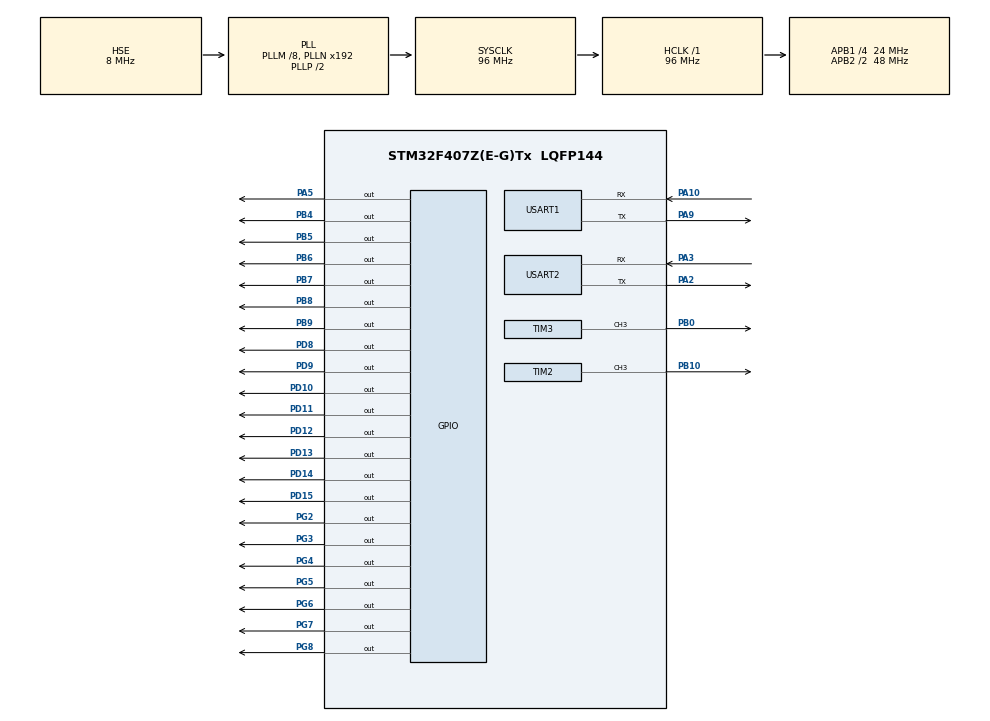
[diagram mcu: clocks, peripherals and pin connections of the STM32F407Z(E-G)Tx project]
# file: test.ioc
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Mcu.Family=STM32F4
Mcu.Name=STM32F407Z(E-G)Tx
Mcu.Package=LQFP144
NVIC.PriorityGroup=NVIC_PRIORITYGROUP_4
NVIC.USART1_IRQn=true\:0\:0\:false\:false\:true\:true\:true
NVIC.USART2_IRQn=true\:1\:0\:true\:false\:true\:true\:true
PA10.Mode=Asynchronous
PA10.Signal=USART1_RX
PA13.Mode=Serial_Wire
PA13.Signal=SYS_JTMS-SWDIO
PA14.Mode=Serial_Wire
PA14.Signal=SYS_JTCK-SWCLK
PA2.Mode=Asynchronous
PA2.Signal=USART2_TX
PA3.Mode=Asynchronous
PA3.Signal=USART2_RX
PA5.PinState=GPIO_PIN_SET
PA5.Signal=GPIO_Output
PA9.Mode=Asynchronous
PA9.Signal=USART1_TX
PB0.Signal=S_TIM3_CH3
PB10.Signal=S_TIM2_CH3
PB4.GPIO_PuPd=GPIO_PULLDOWN
PB4.GPIO_Speed=GPIO_SPEED_FREQ_HIGH
PB4.PinState=GPIO_PIN_SET
PB4.Signal=GPIO_Output
PB5.GPIO_PuPd=GPIO_PULLDOWN
PB5.GPIO_Speed=GPIO_SPEED_FREQ_HIGH
PB5.PinState=GPIO_PIN_SET
PB5.Signal=GPIO_Output
PB6.GPIO_PuPd=GPIO_PULLDOWN
PB6.GPIO_Speed=GPIO_SPEED_FREQ_HIGH
PB6.PinState=GPIO_PIN_SET
PB6.Signal=GPIO_Output
PB7.GPIO_PuPd=GPIO_PULLDOWN
PB7.GPIO_Speed=GPIO_SPEED_FREQ_HIGH
PB7.PinState=GPIO_PIN_SET
PB7.Signal=GPIO_Output
PB8.GPIO_PuPd=GPIO_PULLDOWN
PB8.GPIO_Speed=GPIO_SPEED_FREQ_HIGH
PB8.PinState=GPIO_PIN_SET
PB8.Signal=GPIO_Output
PB9.GPIO_PuPd=GPIO_PULLDOWN
PB9.GPIO_Speed=GPIO_SPEED_FREQ_HIGH
PB9.PinState=GPIO_PIN_SET
PB9.Signal=GPIO_Output
PC14-OSC32_IN.Mode=LSE-External-Oscillator
PC14-OSC32_IN.Signal=RCC_OSC32_IN
PC15-OSC32_OUT.Mode=LSE-External-Oscillator
PC15-OSC32_OUT.Signal=RCC_OSC32_OUT
PD10.GPIO_ModeDefaultOutputPP=GPIO_MODE_OUTPUT_PP
PD10.GPIO_PuPd=GPIO_PULLDOWN
PD10.GPIO_Speed=GPIO_SPEED_FREQ_HIGH
PD10.PinState=GPIO_PIN_SET
PD10.Signal=GPIO_Output
PD11.GPIO_ModeDefaultOutputPP=GPIO_MODE_OUTPUT_PP
PD11.GPIO_PuPd=GPIO_PULLUP
PD11.GPIO_Speed=GPIO_SPEED_FREQ_HIGH
PD11.PinState=GPIO_PIN_SET
PD11.Signal=GPIO_Output
PD12.GPIO_ModeDefaultOutputPP=GPIO_MODE_OUTPUT_PP
PD12.GPIO_PuPd=GPIO_PULLDOWN
PD12.GPIO_Speed=GPIO_SPEED_FREQ_HIGH
PD12.PinState=GPIO_PIN_SET
PD12.Signal=GPIO_Output
PD13.GPIO_ModeDefaultOutputPP=GPIO_MODE_OUTPUT_PP
PD13.GPIO_PuPd=GPIO_PULLDOWN
PD13.GPIO_Speed=GPIO_SPEED_FREQ_HIGH
PD13.PinState=GPIO_PIN_SET
PD13.Signal=GPIO_Output
PD14.GPIO_PuPd=GPIO_PULLDOWN
PD14.GPIO_Speed=GPIO_SPEED_FREQ_HIGH
PD14.PinState=GPIO_PIN_SET
PD14.Signal=GPIO_Output
PD15.GPIO_PuPd=GPIO_PULLDOWN
PD15.GPIO_Speed=GPIO_SPEED_FREQ_HIGH
PD15.PinState=GPIO_PIN_SET
PD15.Signal=GPIO_Output
PD8.GPIO_ModeDefaultOutputPP=GPIO_MODE_OUTPUT_PP
PD8.GPIO_PuPd=GPIO_PULLDOWN
PD8.GPIO_Speed=GPIO_SPEED_FREQ_HIGH
PD8.PinState=GPIO_PIN_SET
PD8.Signal=GPIO_Output
PD9.GPIO_ModeDefaultOutputPP=GPIO_MODE_OUTPUT_PP
PD9.GPIO_PuPd=GPIO_PULLDOWN
PD9.GPIO_Speed=GPIO_SPEED_FREQ_HIGH
PD9.PinState=GPIO_PIN_SET
PD9.Signal=GPIO_Output
PG2.GPIO_PuPd=GPIO_PULLDOWN
PG2.GPIO_Speed=GPIO_SPEED_FREQ_HIGH
PG2.PinState=GPIO_PIN_SET
PG2.Signal=GPIO_Output
PG3.GPIO_ModeDefaultOutputPP=GPIO_MODE_OUTPUT_PP
PG3.GPIO_PuPd=GPIO_PULLDOWN
PG3.GPIO_Speed=GPIO_SPEED_FREQ_HIGH
PG3.PinState=GPIO_PIN_SET
PG3.Signal=GPIO_Output
PG4.GPIO_ModeDefaultOutputPP=GPIO_MODE_OUTPUT_PP
PG4.GPIO_PuPd=GPIO_PULLDOWN
PG4.GPIO_Speed=GPIO_SPEED_FREQ_HIGH
PG4.PinState=GPIO_PIN_SET
PG4.Signal=GPIO_Output
PG5.GPIO_ModeDefaultOutputPP=GPIO_MODE_OUTPUT_PP
PG5.GPIO_PuPd=GPIO_PULLDOWN
PG5.GPIO_Speed=GPIO_SPEED_FREQ_HIGH
PG5.PinState=GPIO_PIN_SET
PG5.Signal=GPIO_Output
PG6.GPIO_PuPd=GPIO_PULLDOWN
PG6.GPIO_Speed=GPIO_SPEED_FREQ_HIGH
PG6.PinState=GPIO_PIN_SET
PG6.Signal=GPIO_Output
PG7.GPIO_PuPd=GPIO_PULLUP
PG7.GPIO_Speed=GPIO_SPEED_FREQ_HIGH
PG7.PinState=GPIO_PIN_SET
PG7.Signal=GPIO_Output
PG8.GPIO_ModeDefaultOutputPP=GPIO_MODE_OUTPUT_PP
PG8.GPIO_PuPd=GPIO_PULLUP
PG8.GPIO_Speed=GPIO_SPEED_FREQ_HIGH
PG8.PinState=GPIO_PIN_SET
PG8.Signal=GPIO_Output
PH0-OSC_IN.Mode=HSE-External-Oscillator
PH0-OSC_IN.Signal=RCC_OSC_IN
PH1-OSC_OUT.Mode=HSE-External-Oscillator
PH1-OSC_OUT.Signal=RCC_OSC_OUT
ProjectManager.HeapSize=0x200
ProjectManager.StackSize=0x400
ProjectManager.TargetToolchain=MDK-ARM V5
RCC.48MHZClocksFreq_Value=48000000
RCC.AHBFreq_Value=96000000
RCC.APB1CLKDivider=RCC_HCLK_DIV4
RCC.APB1Freq_Value=24000000
RCC.APB1TimFreq_Value=48000000
RCC.APB2CLKDivider=RCC_HCLK_DIV2
RCC.APB2Freq_Value=48000000
RCC.APB2TimFreq_Value=96000000
RCC.CortexFreq_Value=96000000
RCC.HCLKFreq_Value=96000000
RCC.HSE_VALUE=8000000
RCC.HSI_VALUE=16000000
RCC.PLLM=8
RCC.PLLSourceVirtual=RCC_PLLSOURCE_HSE
RCC.SYSCLKFreq_VALUE=96000000
RCC.SYSCLKSource=RCC_SYSCLKSOURCE_PLLCLK
RCC.VCOOutputFreq_Value=192000000
SH.S_TIM2_CH3.0=TIM2_CH3,PWM Generation3 CH3
SH.S_TIM3_CH3.0=TIM3_CH3,PWM Generation3 CH3
TIM2.Channel-PWM\ Generation3\ CH3=TIM_CHANNEL_3
TIM2.Period=999
TIM2.Prescaler=83
TIM3.Channel-PWM\ Generation3\ CH3=TIM_CHANNEL_3
TIM3.Period=89
TIM3.Prescaler=59
USART1.VirtualMode=VM_ASYNC
USART2.VirtualMode=VM_ASYNC
board=custom

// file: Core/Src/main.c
/* USER CODE BEGIN Header */
/**
  ******************************************************************************
  * @file           : main.c
  * @brief          : Main program body
  ******************************************************************************
  * @attention
  *
  * <h2><center>&copy; Copyright (c) 2021 STMicroelectronics.
  * All rights reserved.</center></h2>
  *
  * This software component is licensed by ST under BSD 3-Clause license,
  * the "License"; You may not use this file except in compliance with the
  * License. You may obtain a copy of the License at:
  *                        opensource.org/licenses/BSD-3-Clause
  *
  ******************************************************************************
  */
/* USER CODE END Header */
#include "main.h"
#include "tim.h"
#include "usart.h"
#include "gpio.h"

void SystemClock_Config(void);

/* USER CODE BEGIN 0 */
uint8_t Rxbuffer[35];
uint8_t jiexi[35];
uint8_t  c1,c2,c3,c4,c5,c6,c7,c8,c9,c10;

/* USER CODE END 0 */

int main(void)
{

  /* MCU Configuration--------------------------------------------------------*/

  /* Reset of all peripherals, Initializes the Flash interface and the Systick. */
  HAL_Init();

  /* USER CODE BEGIN Init */
uint16_t ledrpwmval = 0;
  /* USER CODE END Init */

  /* Configure the system clock */
  SystemClock_Config();

  /* Initialize all configured peripherals */
  MX_GPIO_Init();
  MX_USART1_UART_Init();
  MX_USART2_UART_Init();
  MX_TIM3_Init();
  MX_TIM2_Init();
  /* USER CODE BEGIN 2 */
	HAL_TIM_PWM_Start(&htim2, TIM_CHANNEL_3);
HAL_TIM_PWM_Start(&htim3,TIM_CHANNEL_3);//PB0     ------> TIM3_CH3
  /* USER CODE END 2 */

  /* Infinite loop */
  /* USER CODE BEGIN WHILE */
  while (1)
  {
		HAL_UART_Receive_IT(&huart2,(uint8_t*)Rxbuffer,35);
		jiexi[0]=Rxbuffer[1];   //对应右手横向摇杆0-3，4，5-7
    jiexi[1]=Rxbuffer[3];   //对应右手纵向摇杆0-3，4，5-7
		jiexi[2]=Rxbuffer[5];   //对应左手油门 0-3，4，5-7
		jiexi[3]=Rxbuffer[7];   //对应左手横向摇杆0-3，4，5-7
		jiexi[4]=Rxbuffer[9];   //对应左手旋钮0-7
		jiexi[5]=Rxbuffer[11];  //对应右手旋钮0-7
		jiexi[6]=Rxbuffer[13];  //左一两段开关0，7
		jiexi[7]=Rxbuffer[15];  //左二两段开关0，7
		jiexi[8]=Rxbuffer[17];  //右二三段开关0，4，7
		jiexi[9]=Rxbuffer[19];  //右一两段开关0，7
		HAL_UART_Transmit(&huart1,&jiexi[0],2,0xFFFF);
		if(jiexi[0] == 0 | jiexi[0]==7 | jiexi[1]==0| jiexi[1] ==7 |jiexi[3]==0| jiexi[3]==7){
			HAL_GPIO_WritePin(GPIOD,GPIO_PIN_2,GPIO_PIN_SET);
		}
		else{
		HAL_GPIO_WritePin(GPIOD,GPIO_PIN_2,GPIO_PIN_RESET);
		}
    if(jiexi[0]>5){
			//HAL_UART_Transmit(&huart1,"11",2,0xFFFF);
		HAL_GPIO_WritePin(GPIOD,GPIO_PIN_12,GPIO_PIN_RESET);
		}
		if(jiexi[0]<6&&jiexi[0]>2){
			//HAL_UART_Transmit(&huart1,"22",2,0xFFFF);
			HAL_GPIO_WritePin(GPIOD,GPIO_PIN_12,GPIO_PIN_SET);
			HAL_GPIO_WritePin(GPIOD,GPIO_PIN_13,GPIO_PIN_SET);
		}
		if(jiexi[0]<3){
			//HAL_UART_Transmit(&huart1,"33",2,0xFFFF);
			HAL_GPIO_WritePin(GPIOD,GPIO_PIN_13,GPIO_PIN_RESET);
		}
		//left and right

		if(jiexi[1]>5){
			HAL_GPIO_WritePin(GPIOD,GPIO_PIN_14,GPIO_PIN_RESET);
		}
		if(jiexi[1]<6&&jiexi[1]>2){
			HAL_GPIO_WritePin(GPIOD,GPIO_PIN_14,GPIO_PIN_SET);
	  	HAL_GPIO_WritePin(GPIOD,GPIO_PIN_15,GPIO_PIN_RESET);
		}
		if(jiexi[1]<3){
			HAL_GPIO_WritePin(GPIOD,GPIO_PIN_15,GPIO_PIN_SET);
		}//down or up

	if(jiexi[3]>5){
			HAL_GPIO_WritePin(GPIOG,GPIO_PIN_7,GPIO_PIN_RESET);//这里初始状态时拉高，所以我设置了拉低为启动

		}
		if(jiexi[3]<6&&jiexi[3]>2){
						HAL_GPIO_WritePin(GPIOG,GPIO_PIN_7,GPIO_PIN_SET);
            HAL_GPIO_WritePin(GPIOG,GPIO_PIN_8,GPIO_PIN_SET);
		}
		if(jiexi[3]<3){
						HAL_GPIO_WritePin(GPIOG,GPIO_PIN_8,GPIO_PIN_RESET);

		}  //left translation or right translation

		//摩擦轮
		if(jiexi[4]>5&&jiexi[4]<7){ ledrpwmval=90;
			  HAL_TIM_PWM_Start(&htim3,TIM_CHANNEL_3);//PB0     ------> TIM3_CH3
			__HAL_TIM_SetCompare(&htim3, TIM_CHANNEL_3, ledrpwmval);
}
   if(jiexi[4]>3&&jiexi[4]<=5){ ledrpwmval=68;
HAL_TIM_PWM_Start(&htim3,TIM_CHANNEL_3);//PB0     ------> TIM3_CH3
	__HAL_TIM_SetCompare(&htim3, TIM_CHANNEL_3, ledrpwmval);
}
    if(jiexi[4]>2&&jiexi[4]<=3){ ledrpwmval=50;
HAL_TIM_PWM_Start(&htim3,TIM_CHANNEL_3);//PB0     ------> TIM3_CH3

	__HAL_TIM_SetCompare(&htim3, TIM_CHANNEL_3, ledrpwmval);
}
if(jiexi[2]<1){
	HAL_GPIO_WritePin(GPIOG,GPIO_PIN_4,GPIO_PIN_RESET);
	HAL_GPIO_WritePin(GPIOG,GPIO_PIN_5,GPIO_PIN_SET);
}
if(jiexi[2]>0 && jiexi[2]<7){
	HAL_GPIO_WritePin(GPIOG,GPIO_PIN_4,GPIO_PIN_RESET);
	HAL_GPIO_WritePin(GPIOG,GPIO_PIN_5,GPIO_PIN_RESET);
}
if(jiexi[2]>6){
HAL_GPIO_WritePin(GPIOG,GPIO_PIN_4,GPIO_PIN_SET);
	HAL_GPIO_WritePin(GPIOG,GPIO_PIN_5,GPIO_PIN_RESET);
}

if(jiexi[5]<2){
HAL_GPIO_WritePin(GPIOD, GPIO_PIN_10,GPIO_PIN_SET);
HAL_TIM_PWM_Start(&htim2, TIM_CHANNEL_3);

}
if(jiexi[5]>1 && jiexi[5]<6){
HAL_TIM_PWM_Stop(&htim2, TIM_CHANNEL_3);
}
if(jiexi[5]>5){
HAL_TIM_PWM_Start(&htim2, TIM_CHANNEL_3);
	HAL_GPIO_WritePin(GPIOD, GPIO_PIN_10,GPIO_PIN_RESET);
}

if(jiexi[4]==7)
{ HAL_TIM_PWM_Stop(&htim3,TIM_CHANNEL_3);
}
if(jiexi[6]==0)
{
	HAL_GPIO_WritePin(GPIOB,GPIO_PIN_4,GPIO_PIN_RESET);//PB4
}
if(jiexi[6]==7)
{
	HAL_GPIO_WritePin(GPIOB,GPIO_PIN_4,GPIO_PIN_SET);
}
if(jiexi[7]==0)
{
	HAL_GPIO_WritePin(GPIOB,GPIO_PIN_5,GPIO_PIN_RESET);//PB5
}
if(jiexi[7]==7)
{
	HAL_GPIO_WritePin(GPIOB,GPIO_PIN_5,GPIO_PIN_SET);
}
if(jiexi[8]==4)//tuigan
{
	HAL_GPIO_WritePin(GPIOB,GPIO_PIN_7,GPIO_PIN_RESET);
	HAL_GPIO_WritePin(GPIOB,GPIO_PIN_8,GPIO_PIN_RESET);//PB6
}
if(jiexi[8]==7)
{
	HAL_GPIO_WritePin(GPIOB,GPIO_PIN_7,GPIO_PIN_RESET);
	HAL_GPIO_WritePin(GPIOB,GPIO_PIN_8,GPIO_PIN_SET);
}
if(jiexi[8]==0)
{
	HAL_GPIO_WritePin(GPIOB,GPIO_PIN_7,GPIO_PIN_SET);
	HAL_GPIO_WritePin(GPIOB,GPIO_PIN_8,GPIO_PIN_RESET);
}
if(jiexi[9]==0)
{
	HAL_GPIO_WritePin(GPIOB,GPIO_PIN_9,GPIO_PIN_RESET);//PB9
}
if(jiexi[9]==7)
{
	HAL_GPIO_WritePin(GPIOB,GPIO_PIN_9,GPIO_PIN_SET);
}

    /* USER CODE END WHILE */

  }
}

void SystemClock_Config(void)
{
  RCC_OscInitTypeDef RCC_OscInitStruct = {0};
  RCC_ClkInitTypeDef RCC_ClkInitStruct = {0};

  /** Configure the main internal regulator output voltage
  */
  __HAL_RCC_PWR_CLK_ENABLE();
  __HAL_PWR_VOLTAGESCALING_CONFIG(PWR_REGULATOR_VOLTAGE_SCALE1);
  /** Initializes the RCC Oscillators according to the specified parameters
  * in the RCC_OscInitTypeDef structure.
  */
  RCC_OscInitStruct.OscillatorType = RCC_OSCILLATORTYPE_HSE;
  RCC_OscInitStruct.HSEState = RCC_HSE_ON;
  RCC_OscInitStruct.PLL.PLLState = RCC_PLL_ON;
  RCC_OscInitStruct.PLL.PLLSource = RCC_PLLSOURCE_HSE;
  RCC_OscInitStruct.PLL.PLLM = 8;
  RCC_OscInitStruct.PLL.PLLN = 192;
  RCC_OscInitStruct.PLL.PLLP = RCC_PLLP_DIV2;
  RCC_OscInitStruct.PLL.PLLQ = 4;
  if (HAL_RCC_OscConfig(&RCC_OscInitStruct) != HAL_OK)
  {
    Error_Handler();
  }
  /** Initializes the CPU, AHB and APB buses clocks
  */
  RCC_ClkInitStruct.ClockType = RCC_CLOCKTYPE_HCLK|RCC_CLOCKTYPE_SYSCLK
                              |RCC_CLOCKTYPE_PCLK1|RCC_CLOCKTYPE_PCLK2;
  RCC_ClkInitStruct.SYSCLKSource = RCC_SYSCLKSOURCE_PLLCLK;
  RCC_ClkInitStruct.AHBCLKDivider = RCC_SYSCLK_DIV1;
  RCC_ClkInitStruct.APB1CLKDivider = RCC_HCLK_DIV4;
  RCC_ClkInitStruct.APB2CLKDivider = RCC_HCLK_DIV2;

  if (HAL_RCC_ClockConfig(&RCC_ClkInitStruct, FLASH_LATENCY_3) != HAL_OK)
  {
    Error_Handler();
  }
}

void Error_Handler(void)
{
  __disable_irq();
  while (1)
  {
  }
}

/************************ (C) COPYRIGHT STMicroelectronics *****END OF FILE****/
